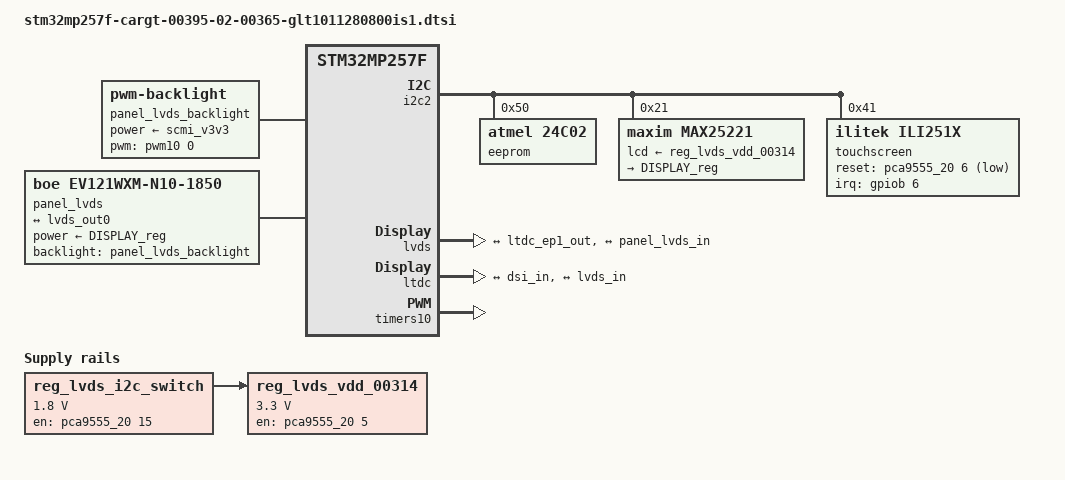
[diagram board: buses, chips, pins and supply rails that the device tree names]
/ {
	panel_lvds_backlight: panel-lvds-backlight {
		compatible = "pwm-backlight";
		pwms = <&pwm10 0 1000000 0>;
		brightness-levels = <0 100>;
		num-interpolated-steps = <100>;
		default-brightness-level = <80>;
		power-supply = <&scmi_v3v3>;
		status = "okay";
	};

/*
	panel_lvds_backlight: panel-lvds-backlight {
		compatible = "gpio-backlight";
		gpios = <&gpiob 9 GPIO_ACTIVE_HIGH>;
		default-on;
		default-brightness-level = <1>;
		status = "okay";
	};
*/

	reg_lvds_i2c_switch: regulator-lvds-i2c-switch {
		compatible = "regulator-fixed";
		regulator-name = "lvds_i2c_sw";
		regulator-min-microvolt = <1800000>;
		regulator-max-microvolt = <1800000>;
		gpio = <&pca9555_20 15 GPIO_ACTIVE_HIGH>;
		enable-active-high;
		regulator-always-on;
		status = "okay";
	};	

	reg_lvds_vdd_00314: regulator-lvds-vdd {
		compatible = "regulator-fixed";
		regulator-name = "lvds_vdd";
		regulator-min-microvolt = <3300000>; // 00314 will boost 1.8V output to 3.3V 
		regulator-max-microvolt = <3300000>;
		gpio = <&pca9555_20 5 GPIO_ACTIVE_HIGH>;
		enable-active-high;
		regulator-always-on;
		vin-supply = <&reg_lvds_i2c_switch>;
		status = "okay";
	};	

	panel_lvds: panel-lvds {	
		compatible = "boe,ev121wxm-n10-1850";
		backlight = <&panel_lvds_backlight>;		
		power-supply = <&DISPLAY_reg>;
		status = "okay";

		port {
			panel_lvds_in: endpoint {
				remote-endpoint = <&lvds_out0>;
			};
		};
	};
};

&i2c2 {
	
	/* eeprom on display */
	eeprom@50 {
		compatible = "atmel,24c02";
		reg = <0x50>;
		pagesize = <16>;		
		status = "okay";
	};

	max25221: max25221@21 {
		compatible = "maxim,max25221";
		reg = <0x21>;
		lcd-supply = <&reg_lvds_vdd_00314>;
		status = "okay";

		regulators {
			DISPLAY_reg: DISPLAY {
				regulator-name = "DISPLAY";
			};
		};
	};

	touchscreen@41 {
		compatible = "ilitek,ili251x";
		reg = <0x41>;
		pinctrl-names = "default";
		pinctrl-0 =<&pinctrl_lvds_touchscreen>;
		interrupt-parent = <&gpiob>;
		interrupts = <6 IRQ_TYPE_EDGE_FALLING>;
		reset-gpios = <&pca9555_20 6 GPIO_ACTIVE_LOW>;
		// touchscreen-size-x = <1280>;
		// touchscreen-size-y = <800>;
	};
};

&dsi {
	vdd-supply =  <&scmi_vddcore>;
	vdda18-supply = <&scmi_v1v8>;
	ports {
		#address-cells = <1>;
		#size-cells = <0>;

		port@0 {
			reg = <0>;
			dsi_in: endpoint {
				remote-endpoint = <&ltdc_ep0_out>;
			};
		};
	};
};

&lvds {
	default-on;
	vdd-supply =  <&scmi_vddcore>;
	vdda18-supply = <&scmi_v1v8>;
	status = "okay";

	ports {
		#address-cells = <1>;
		#size-cells = <0>;

		port@0 {
			reg = <0>;
			lvds_in: endpoint {
				remote-endpoint = <&ltdc_ep1_out>;
			};
		};

		port@1 {
			reg = <1>;
			lvds_out0: endpoint {
				remote-endpoint = <&panel_lvds_in>;
			};
		};
	};
};

&ltdc {
	default-on;
	rotation-memory = <&ltdc_sec_rotation>;
	status = "okay";

	port {
		#address-cells = <1>;
		#size-cells = <0>;

		ltdc_ep0_out: endpoint@0 {
			reg = <0>;
			remote-endpoint = <&dsi_in>;
		};

		ltdc_ep1_out: endpoint@1 {
			reg = <1>;
			remote-endpoint = <&lvds_in>;
		};

	};
};

&timers10 {
	/delete-property/pinctrl-names;
	/delete-property/pinctrl-0;
	/delete-property/pinctrl-1;
	/delete-property/dmas;
	/delete-property/dma-names;
	status = "okay";

	pwm10: pwm {
		pinctrl-names = "default", "sleep";
		pinctrl-0 = <&tim10_pwm_pins_mx>;
		pinctrl-1 = <&tim10_pwm_sleep_pins_mx>;
		status = "okay";
	};	
};


&dsi {
	status = "disabled";
};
